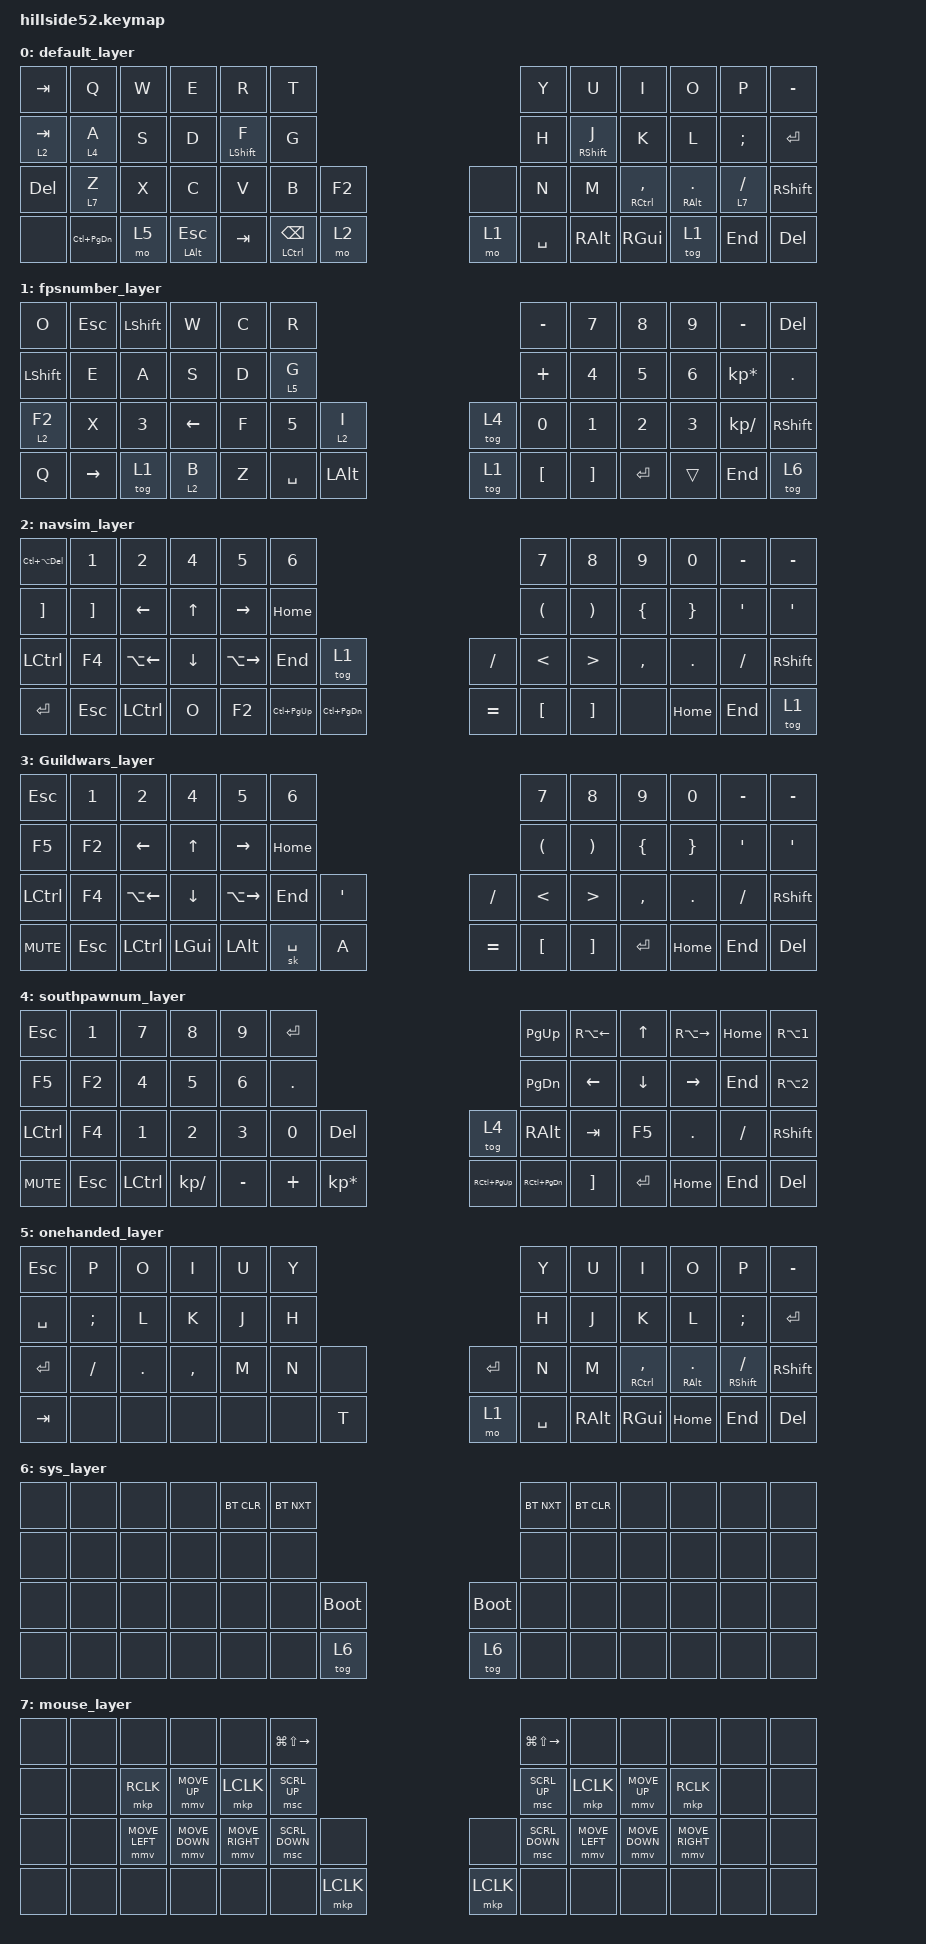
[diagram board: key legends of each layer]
/*
 * Copyright (c) 2021-2022 The ZMK Contributors
 *
 * SPDX-License-Identifier: MIT
 */

#include <behaviors.dtsi>
#include <dt-bindings/zmk/bt.h>
#include <dt-bindings/zmk/ext_power.h>
#include <dt-bindings/zmk/keys.h>
#include <dt-bindings/zmk/outputs.h>

#define ZMK_POINTING_DEFAULT_MOVE_VAL 1800  // default: 600
#define ZMK_POINTING_DEFAULT_SCRL_VAL 20    // default: 10

#include <dt-bindings/zmk/pointing.h>

/ {
        
 	combos {
        	compatible = "zmk,combos";
        	combo_PGUP {
            		timeout-ms = <50>;
            		key-positions = <2 3>;
            		layers = <0>;
            		bindings = <&kp PG_UP>;
        	};
		combo_RPGUP {
            		timeout-ms = <50>;
            		key-positions = <8 9>;
            		layers = <0>;
            		bindings = <&kp PG_UP>;
        	};
        	combo_PGDN {
            		timeout-ms = <50>;
            		key-positions = <26 27>;
            		layers = <0>;
            		bindings = <&kp PG_DN>;
        	};
		combo_RPGDN {
            		timeout-ms = <50>;
            		key-positions = <34 35>;
            		layers = <0>;
            		bindings = <&kp PG_DN>;
        	};
        	combo_ALT1 {
            		timeout-ms = <50>;
            		key-positions = <2 4>;
            		layers = <0>;
            		bindings = <&kp LA(N1)>;
       		};
		combo_RALT1 {
            		timeout-ms = <50>;
            		key-positions = <7 9>;
            		layers = <0>;
            		bindings = <&kp LA(N1)>;
       		};

       	 	combo_ALT2 {
            		timeout-ms = <50>;
            		key-positions = <26 28>;
            		layers = <0>;
            		bindings = <&kp LA(N2)>;
        	};
		combo_RALT2 {
            		timeout-ms = <50>;
            		key-positions = <33 35>;
            		layers = <0>;
            		bindings = <&kp LA(N2)>;
       		};

    		combo_THAI {
            		timeout-ms = <50>;
            		key-positions = <1 12>;
            		layers = <0>;
            		bindings = <&kp LA(LSHIFT)>;
        	};
		combo_HOME {
            		timeout-ms = <50>;
            		key-positions = <9 10>;
            		layers = <0>;
            		bindings = <&kp HOME>;
        	};
		combo_END {
            		timeout-ms = <50>;
            		key-positions = <21 22>;
            		layers = <0>;
            		bindings = <&kp END>;
        	};
		combo_SKALT {
            		timeout-ms = <50>;
            		key-positions = <14 15>;
            		layers = <0>;
            		bindings = <&sk LALT>;
        	};


	};


	keymap {
                compatible = "zmk,keymap";

                default_layer {

                        bindings = <
&kp  TAB      &kp  Q           &kp  W        &kp  E        &kp  R         &kp  T                                                                        &kp  Y        &kp  U        &kp  I             &kp  O             &kp  P                &kp  MINUS
&lt  2 TAB    &lt  4 A         &kp  S        &kp  D        &mt  LSHFT  F  &kp  G                                                                        &kp  H        &mt  RSHFT J  &kp  K             &kp  L             &kp  SEMI             &kp  RET
&kp  DEL      &lt  7 Z         &kp  X        &kp  C        &kp  V         &kp  B       &kp F2                                             &none         &kp  N        &kp  M        &mt  RCTL COMMA    &mt  RALT DOT      &lt  7 FSLH           &kp  RSHFT
&none         &kp  LC(PG_DN)   &mo  5                      &mt  LALT ESC  &kp  TAB     &mt LCTRL  BSPC    &mo 2                  &mo 1    &kp  SPACE    &kp  RALT     &kp  RGUI                        &tog 1             &kp  END              &kp  DEL
                        >;
		};
		
	       fpsnumber_layer {

                        bindings = <
&kp  O        &kp  ESC      &kp  LSHIFT   &kp  W       &kp  C     &kp  R                                                                     &kp  MINUS    &kp  N7       &kp  N8       &kp  N9       &kp  MINUS           &kp  DEL
&kp  LSHIFT   &kp  E        &kp  A        &kp  S       &kp  D     &lt  5 G                                                                   &kp  PLUS     &kp  N4       &kp  N5       &kp  N6       &kp  KP_MULTIPLY     &kp  DOT
&lt  2 F2     &kp  X        &kp  N3       &kp LEFT     &kp  F     &kp  N5    &lt  2 I                                          &tog  4       &kp  N0       &kp  N1       &kp  N2       &kp  N3       &kp  KP_DIVIDE       &kp  RSHFT
&kp  Q        &kp  RIGHT    &tog 1                     &lt 2  B   &kp  Z     &kp  SPACE    &kp LALT                  &tog 1    &kp  LBKT     &kp  RBKT     &kp  RET                    &trans        &kp  END             &tog 6
                        >;
		};

               navsim_layer {

                        bindings = <
&kp  LC(LA(DEL))  &kp  N1       &kp  N2       &kp  N4       &kp  N5        &kp  N6                                                                      &kp  N7       &kp  N8       &kp  N9       &kp  N0       &kp  MINUS    &kp  MINUS
&kp  RBKT         &kp  RBKT     &kp  LEFT     &kp  UP       &kp  RIGHT     &kp  HOME                                                                    &kp  LPAR     &kp  RPAR     &kp  LBRC     &kp  RBRC     &kp  APOS     &kp  SQT
&kp  LCTRL        &kp  F4       &kp  LA(LEFT) &kp  DOWN     &kp  LA(RIGHT) &kp  END    &tog 1                                             &kp  SLASH    &kp  LT       &kp  GT       &kp  COMMA    &kp  DOT      &kp  FSLH     &kp  RSHFT
&kp  RET          &kp  ESC      &kp  LCTRL                  &kp  O         &kp  F2     &kp  LC(PG_UP)  &kp LC(PG_DN)           &kp EQUAL  &kp  LBKT     &kp  RBKT     &none                       &kp  HOME     &kp  END      &tog 1
                        >;

                };
      
 	       Guildwars_layer {

                        bindings = <
&kp  ESC      &kp  N1       &kp  N2       &kp  N4       &kp  N5        &kp  N6                                                                          &kp  N7       &kp  N8       &kp  N9       &kp  N0       &kp  MINUS    &kp  MINUS
&kp  F5       &kp  F2       &kp  LEFT     &kp  UP       &kp  RIGHT     &kp  HOME                                                                        &kp  LPAR     &kp  RPAR     &kp  LBRC     &kp  RBRC     &kp  APOS     &kp  SQT
&kp  LCTRL    &kp  F4       &kp  LA(LEFT) &kp  DOWN     &kp  LA(RIGHT) &kp  END      &kp  SQT                                             &kp  SLASH    &kp  LT       &kp  GT       &kp  COMMA    &kp  DOT      &kp  FSLH     &kp  RSHFT
&kp  C_MUTE   &kp  ESC      &kp  LCTRL                  &kp  LGUI      &kp  LALT     &sk  SPACE    &kp A                       &kp EQUAL  &kp  LBKT     &kp  RBKT     &kp  RET                    &kp  HOME     &kp  END      &kp  DEL
                        >;

                };

		southpawnum_layer {

                        bindings = <
&kp  ESC      &kp  N1     &kp  N7       &kp  N8      &kp  N9         &kp  RET                                                                     &kp  PG_UP     &kp  RA(LEFT) &kp  UP     &kp  RA(RIGHT) &kp  HOME     &kp  RA(N1)
&kp  F5       &kp  F2     &kp  N4       &kp  N5      &kp  N6         &kp  DOT                                                                     &kp  PG_DN     &kp  LEFT     &kp  DOWN   &kp  RIGHT     &kp  END      &kp  RA(N2)
&kp  LCTRL    &kp  F4     &kp  N1       &kp  N2      &kp  N3         &kp  N0     &kp  DEL                                           &tog  4       &kp  RALT      &kp  TAB      &kp  F5     &kp  DOT       &kp  FSLH     &kp  RSHFT
&kp  C_MUTE   &kp  ESC    &kp  LCTRL                 &kp  KP_DIVIDE  &kp  MINUS  &kp  PLUS  &kp KP_MULTIPLY          &kp RC(PG_UP)  &kp RC(PG_DN) &kp  RBKT      &kp  RET                  &kp  HOME      &kp  END      &kp  DEL
                        >;

                };

		onehanded_layer {

                        bindings = <
&kp  ESC         &kp  P           &kp  O        &kp  I        &kp  U       &kp  Y                                                           &kp  Y        &kp  U        &kp  I             &kp  O             &kp  P                &kp  MINUS
&kp  SPACE       &kp  SEMI        &kp  L        &kp  K        &kp  J       &kp  H                                                           &kp  H        &kp  J        &kp  K             &kp  L             &kp  SEMI             &kp  RET
&kp  RET         &kp  FSLH        &kp  DOT      &kp  COMMA    &kp  M       &kp  N       &none                                 &kp  RET      &kp  N        &kp  M        &mt  RCTL COMMA    &mt  RALT DOT      &mt  RSHIFT  FSLH     &kp  RSHFT
&kp  TAB         &none            &none                       &none        &none        &none    &kp T               &mo 1    &kp  SPACE    &kp  RALT     &kp  RGUI                        &kp  HOME          &kp  END              &kp  DEL
                        >;
		};

		sys_layer {

                        bindings = <
&none      &none     &none     &none    &bt  BT_CLR  &bt  BT_NXT                                                   &bt  BT_NXT  &bt  BT_CLR   &none   &none   &none  &none
&none      &none     &none     &none    &none        &none                                                         &none        &none         &none   &none   &none  &none
&none      &none     &none     &none    &none        &none       &bootloader                         &bootloader   &none        &none         &none   &none   &none  &none
&none      &none     &none              &none        &none       &none       &tog 6          &tog 6  &none         &none        &none                 &none   &none  &none
                        >;
		};

		mouse_layer {

                        bindings = <
&none      &none     &none          &none           &none            &kp LG(LS(RIGHT))                                      &kp LG(LS(RIGHT))  &none           &none          &none   		&none  &none
&none      &none     &mkp RCLK      &mmv MOVE_UP    &mkp LCLK        &msc SCRL_UP                                           &msc SCRL_UP       &mkp LCLK       &mmv MOVE_UP   &mkp RCLK         &none  &none
&none      &none     &mmv MOVE_LEFT &mmv MOVE_DOWN  &mmv MOVE_RIGHT  &msc SCRL_DOWN  &none                          &none   &msc SCRL_DOWN     &mmv MOVE_LEFT  &mmv MOVE_DOWN &mmv MOVE_RIGHT   &none  &none
&none      &none     &none                          &none            &none           &none  &mkp LCLK    &mkp LCLK  &none   &none              &none                          &none             &none  &none
                        >;
		};

 	 };
};
